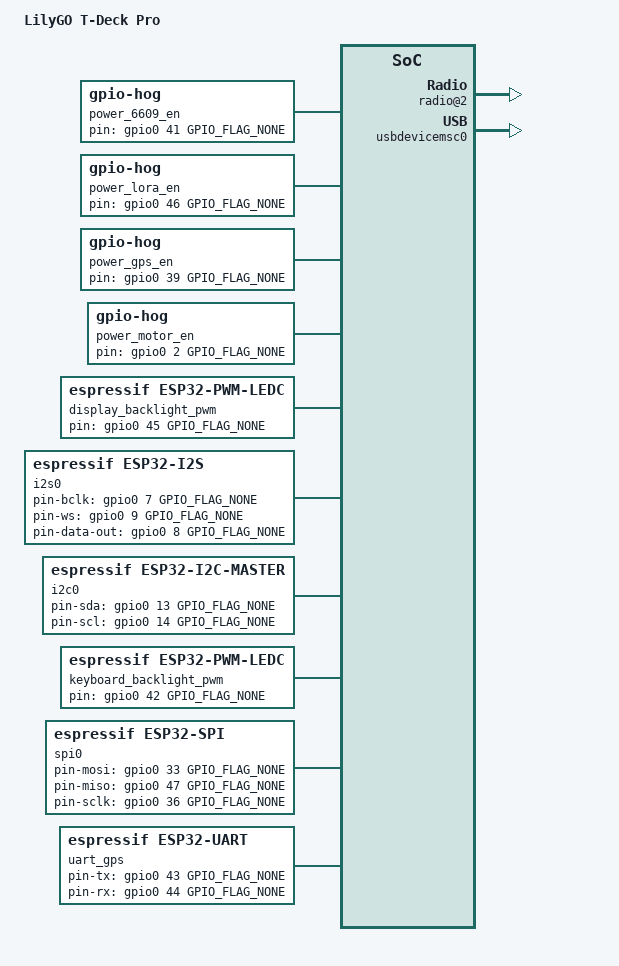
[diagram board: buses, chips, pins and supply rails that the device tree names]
/dts-v1/;

#include <tactility/bindings/root.h>
#include <tactility/bindings/esp32_ble.h>
#include <tactility/bindings/esp32_wifi_pinned.h>
#include <tactility/bindings/esp32_gpio.h>
#include <tactility/bindings/esp32_i2c_master.h>
#include <tactility/bindings/esp32_spi.h>
#include <tactility/bindings/esp32_sdspi.h>
#include <tactility/bindings/esp32_pwm_ledc.h>
#include <tactility/bindings/esp32_i2s.h>
#include <tactility/bindings/esp32_uart.h>
#include <tactility/bindings/esp32_usbdevice.h>
#include <tactility/bindings/pwm_backlight.h>
#include <tactility/bindings/gpio_hog.h>
#include <bindings/cst328.h>
#include <bindings/uc8253.h>
#include <bindings/tca8418.h>
#include <bindings/bq25896.h>
#include <bindings/bq27220.h>
#include <bindings/drv2605.h>
#include <bindings/sx1262.h>
#include <bindings/dummy_i2s_amp.h>
#include <gps_generic/bindings.h>

// Reference for V1.1 (PCM5102A audio / CST3530 touch):
// https://github.com/Xinyuan-LilyGO/T-Deck-Pro/tree/HD-V2-250915
// Hardware revision 1.1 differs from 1.0 in several ways:
//   - Touch controller changed from CST328 to CST3530 (Hynitron cst66xx protocol, address 0x1A).
//   - Touch reset moved from GPIO45 to GPIO38; GPIO45 is now the EPD backlight.
//   - EPD reset is now wired to GPIO16 (was unconnected on V1.0).
//   - DRV2605 haptic driver added at I2C address 0x5A.
//   - BQ27220 fuel gauge added at I2C address 0x55.
//   - PCM5102A I2S DAC for audio output on GPIO7/8/9.
//   - GPS (MIA-M10Q) on UART1 TX=GPIO43 RX=GPIO44.
/ {
	compatible = "root";
	model = "LilyGO T-Deck Pro";

	wifi0 {
		compatible = "espressif,esp32-wifi-pinned";
	};

	ble0 {
		compatible = "espressif,esp32-ble";
	};

	gpio0 {
		compatible = "espressif,esp32-gpio";
		gpio-count = <49>;
	};

	// Power rails / module enables. The LilyGO factory firmware drives these high at boot.
	// GPIO41 (BOARD_6609_EN) gates power to the PCM5102A audio section on the voice variant.
	// GPIO46 enables the SX1262 LoRa module. GPIO39 enables the GPS module. GPIO2 is the
	// vibration motor enable (DRV2605 output stage). GPIO45 is the EPD front-light.
	power_6609_en {
		compatible = "gpio-hog";
		pin = <&gpio0 41 GPIO_FLAG_NONE>;
		mode = <GPIO_HOG_MODE_OUTPUT_HIGH>;
	};

	power_lora_en {
		compatible = "gpio-hog";
		pin = <&gpio0 46 GPIO_FLAG_NONE>;
		mode = <GPIO_HOG_MODE_OUTPUT_HIGH>;
	};

	power_gps_en {
		compatible = "gpio-hog";
		pin = <&gpio0 39 GPIO_FLAG_NONE>;
		mode = <GPIO_HOG_MODE_OUTPUT_HIGH>;
	};

	power_motor_en {
		compatible = "gpio-hog";
		pin = <&gpio0 2 GPIO_FLAG_NONE>;
		mode = <GPIO_HOG_MODE_OUTPUT_HIGH>;
	};

	// EPD front-light (added on V1.1). Off by default; apps can enable it via pwm-backlight.
	display_backlight_pwm {
		compatible = "espressif,esp32-pwm-ledc";
		pin = <&gpio0 45 GPIO_FLAG_NONE>;
		period-ns = <33333>;
		ledc-timer = <0>;
		ledc-channel = <0>;
	};

	display_backlight {
		compatible = "pwm-backlight";
		status = "disabled";
		pwm = <&display_backlight_pwm>;
	};

	// PCM5102A stereo DAC (I2S input, no I2C control).
	i2s0 {
		compatible = "espressif,esp32-i2s";
		port = <I2S_NUM_0>;
		pin-bclk = <&gpio0 7 GPIO_FLAG_NONE>;
		pin-ws = <&gpio0 9 GPIO_FLAG_NONE>;
		pin-data-out = <&gpio0 8 GPIO_FLAG_NONE>;
	};

	speaker0 {
		compatible = "ti,pcm5102a";
		i2s = <&i2s0>;
	};

	i2c0 {
		compatible = "espressif,esp32-i2c-master";
		port = <I2C_NUM_0>;
		clock-frequency = <100000>;
		pin-sda = <&gpio0 13 GPIO_FLAG_NONE>;
		pin-scl = <&gpio0 14 GPIO_FLAG_NONE>;

		// Some T-Deck Pro V1.1 boards ship the CST328 (older stock) instead of CST3530.
		// Both live at I2C address 0x1A and use reset GPIO38. If this driver doesn't work,
		// switch back to hynitron,cst66xx for CST3530 boards.
		touch {
			compatible = "hynitron,cst328";
			reg = <0x1A>;
			pin-reset = <&gpio0 38 GPIO_FLAG_NONE>;
		};

		// TCA8418 4x10 matrix scanner. Keymaps are written in the vendor's row/column
		// orientation (Xinyuan-LilyGO/T-Deck-MAX examples/factory/peri_keypad.cpp); the
		// TCA8418 columns are wired in reverse of that order, hence reverse-columns.
		// ALT (shift/uppercase) is row 2 col 0; SYM (symbol layer) is row 3 col 8.
		keyboard {
			compatible = "ti,tca8418";
			reg = <0x34>;
			rows = <4>;
			columns = <10>;
			reverse-columns;
			keymap-lc = [
				113 119 101 114 116 121 117 105 111 112 // q w e r t y u i o p
				97 115 100 102 103 104 106 107 108 8    // a s d f g h j k l BACKSPACE
				0 122 120 99 118 98 110 109 36 10       //   z x c v b n m $ ENTER
				0 0 0 0 0 11 48 32 0 9                  //         PREV 0 SPC   NEXT
			];
			keymap-uc = [
				81 87 69 82 84 89 85 73 79 80 // Q W E R T Y U I O P
				65 83 68 70 71 72 74 75 76 8  // A S D F G H J K L BACKSPACE
				0 90 88 67 86 66 78 77 36 10  //   Z X C V B N M $ ENTER
				0 0 0 0 0 11 48 32 0 9        //         PREV 0 SPC   NEXT
			];
			keymap-sy = [
				49 50 51 52 53 54 55 56 57 48 // 1 2 3 4 5 6 7 8 9 0
				64 35 43 45 42 47 40 41 95 8  // @ # + - * / ( ) _ BACKSPACE
				0 33 63 59 58 39 34 44 46 10  //   ! ? ; : ' " , . ENTER
				0 0 0 0 0 11 48 32 0 9        //         PREV 0 SPC   NEXT
			];
			shift-row = <2>;
			shift-col = <0>;
			sym-row = <3>;
			sym-col = <8>;
		};

		// BQ25896 charger at 0x6B.
		bq25896 {
			compatible = "ti,bq25896";
			reg = <0x6B>;
		};

		// BQ27220 fuel gauge at 0x55 (added on V1.1).
		bq27220 {
			compatible = "ti,bq27220";
			reg = <0x55>;
		};

		// DRV2605 haptic driver at 0x5A (added on V1.1).
		drv2605 {
			compatible = "ti,drv2605";
			reg = <0x5A>;
		};
	};

	// Keyboard backlight (LED_PWM), GPIO42. Off by default; apps can drive it via pwm-backlight.
	keyboard_backlight_pwm {
		compatible = "espressif,esp32-pwm-ledc";
		pin = <&gpio0 42 GPIO_FLAG_NONE>;
		period-ns = <33333>;
		ledc-timer = <0>;
		ledc-channel = <0>;
	};

	keyboard_backlight {
		compatible = "pwm-backlight";
		status = "disabled";
		pwm = <&keyboard_backlight_pwm>;
	};

	spi0 {
		compatible = "espressif,esp32-spi";
		host = <SPI2_HOST>;
		cs-gpios = <&gpio0 34 GPIO_FLAG_NONE>, // 0: EPD display
		           <&gpio0 48 GPIO_FLAG_NONE>, // 1: SD card
		           <&gpio0 3 GPIO_FLAG_NONE>;  // 2: LoRa radio (SX1262)
		pin-mosi = <&gpio0 33 GPIO_FLAG_NONE>;
		pin-miso = <&gpio0 47 GPIO_FLAG_NONE>;
		pin-sclk = <&gpio0 36 GPIO_FLAG_NONE>;
		// The EPD pushes its whole 9600-byte framebuffer in one SPI write, which
		// exceeds the default ~4 KB transfer limit. Raise the bus limit to fit it.
		max-transfer-size = <65536>;

		display@0 {
			compatible = "ultrachip,uc8253";
			pin-dc = <&gpio0 35 GPIO_FLAG_NONE>;
			pin-reset = <&gpio0 16 GPIO_FLAG_NONE>;
			pin-busy = <&gpio0 37 GPIO_FLAG_NONE>;
			pin-cs = <&gpio0 34 GPIO_FLAG_NONE>;
			clock-speed-hz = <10000000>;
			panel-type = "gdeq031t10";
		};

		sdcard@1 {
			compatible = "espressif,esp32-sdspi";
			status = "disabled";
			frequency-khz = <20000>;
		};

		// SX1262 LoRa transceiver: CS/RST/DIO1/BUSY = GPIO 3/4/5/6, TCXO 2.4 V,
		// DIO2 drives the antenna TX/RX switch. Module power is gated by LORA_EN (GPIO 46).
		radio@2 {
			compatible = "semtech,sx1262";
			reg = <2>;
			pin-reset = <&gpio0 4 GPIO_FLAG_NONE>;
			pin-dio1 = <&gpio0 5 GPIO_FLAG_NONE>;
			pin-busy = <&gpio0 6 GPIO_FLAG_NONE>;
			pin-enable = <&gpio0 46 GPIO_FLAG_NONE>;
			tcxo-millivolts = <2400>;
			dio2-as-rf-switch;
		};
	};

	uart_gps {
		compatible = "espressif,esp32-uart";
		port = <UART_NUM_2>;
		pin-tx = <&gpio0 43 GPIO_FLAG_NONE>;
		pin-rx = <&gpio0 44 GPIO_FLAG_NONE>;

		gps {
			compatible = "tactility,gps-generic";
			status = "disabled";
			baud-rate = <38400>;
			model = <GPS_MODEL_UBLOX10>;
		};
	};

	usbdevice0 {
		compatible = "espressif,esp32-usbdevice";

		usbdevicemsc0 {
			compatible = "espressif,esp32-usbdevice-msc";
		};
	};
};
